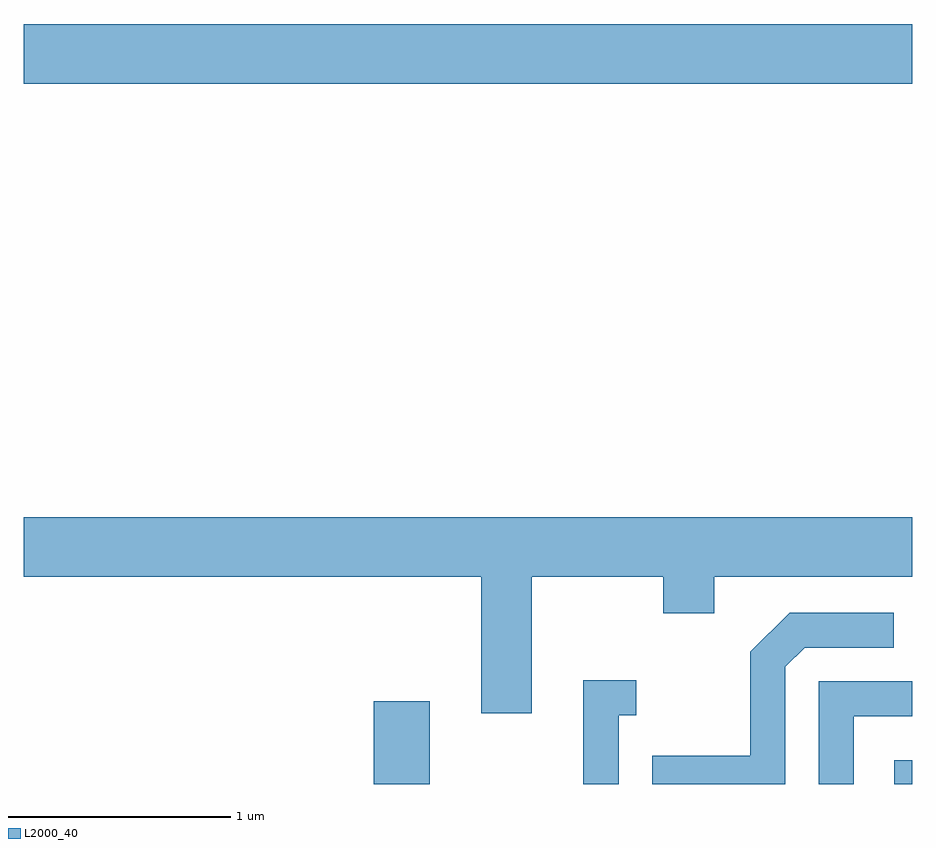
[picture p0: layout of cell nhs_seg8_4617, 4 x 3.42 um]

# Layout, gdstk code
import gdstk
lib = gdstk.Library(unit=1e-6, precision=1e-09)
def R(c, l, rs):  # rectangles x0, y0, x1, y1
    for r in rs: c.add(gdstk.rectangle(r[:2], r[2:], *l))
def P(c, l, *ps):  # polygons
    for p in ps: c.add(gdstk.Polygon(p, *l))
L2000_40 = (2000, 40)

nhs_seg8_4617 = lib.new_cell('nhs_seg8_4617')
R(nhs_seg8_4617, L2000_40, [(325.186,1864.342,325.439,1864.714), (327.531,1864.342,327.611,1864.449), (323.611,1867.496,327.611,1867.764)])
P(nhs_seg8_4617, L2000_40, [(325.899,1865.276),(326.491,1865.276),(326.491,1865.111),(326.719,1865.111),(326.719,1865.276),(327.611,1865.276),(327.611,1865.544),(323.611,1865.544),(323.611,1865.276),(325.671,1865.276),(325.671,1864.661),(325.899,1864.661)],
  [(327.039,1864.869),(327.127,1864.956),(327.528,1864.956),(327.528,1865.114),(327.059,1865.114),(326.881,1864.937),(326.881,1864.469),(326.441,1864.469),(326.441,1864.342),(327.039,1864.342)],
  [(326.289,1864.651),(326.368,1864.651),(326.368,1864.809),(326.131,1864.809),(326.131,1864.342),(326.289,1864.342)],
  [(327.349,1864.646),(327.611,1864.646),(327.611,1864.804),(327.191,1864.804),(327.191,1864.342),(327.349,1864.342)])

lib.write_gds('nhs_seg8_4617.gds')
